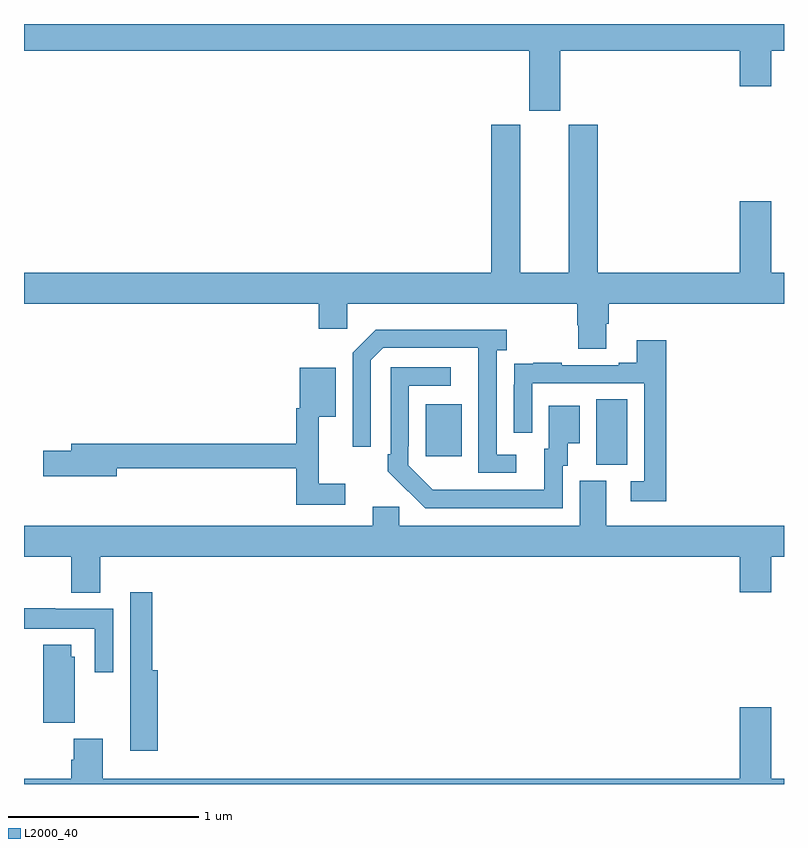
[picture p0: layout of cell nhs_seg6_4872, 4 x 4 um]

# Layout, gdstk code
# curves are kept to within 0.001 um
import gdstk
lib = gdstk.Library(unit=1e-6, precision=1e-09)
def R(c, l, rs):  # rectangles x0, y0, x1, y1
    for r in rs: c.add(gdstk.rectangle(r[:2], r[2:], *l))
def P(c, l, *ps):  # polygons
    for p in ps: c.add(gdstk.Polygon(p, *l))
L2000_40 = (2000, 40)

nhs_seg6_4872 = lib.new_cell('nhs_seg6_4872')
R(nhs_seg6_4872, L2000_40, [(404.012,921.181,404.176,921.524), (403.115,921.225,403.303,921.499)])
P(nhs_seg6_4872, L2000_40, [(401,923.36),(403.658,923.36),(403.658,923.043),(403.822,923.043),(403.822,923.36),(404.768,923.36),(404.768,923.172),(404.932,923.172),(404.932,923.36),(405,923.36),(405,923.5),(401,923.5)],
  [(404.065,921.922),(404.078,921.922),(404.078,922.028),(405,922.028),(405,922.192),(404.932,922.192),(404.932,922.567),(404.768,922.567),(404.768,922.192),(404.021,922.192),(404.021,922.971),(403.868,922.971),(403.868,922.192),(403.612,922.192),(403.612,922.971),(403.46,922.971),(403.46,922.192),(401,922.192),(401,922.028),(402.551,922.028),(402.551,921.897),(402.702,921.897),(402.702,922.028),(403.913,922.028),(403.913,921.915),(403.918,921.915),(403.918,921.79),(404.065,921.79)],
  [(403.591,921.234),(403.488,921.234),(403.488,921.782),(403.54,921.782),(403.54,921.892),(402.85,921.892),(402.729,921.771),(402.729,921.276),(402.825,921.276),(402.825,921.729),(402.891,921.795),(403.391,921.795),(403.392,921.138),(403.591,921.138)],
  [(404.381,921.835),(404.225,921.835),(404.225,921.718),(404.129,921.718),(404.129,921.705),(403.829,921.705),(403.829,921.718),(403.681,921.718),(403.681,921.711),(403.579,921.711),(403.579,921.602),(403.578,921.602),(403.578,921.348),(403.674,921.348),(403.674,921.609),(404.265,921.609),(404.265,921.093),(404.193,921.093),(404.193,920.988),(404.381,920.988)],
  [(403.836,921.174),(403.861,921.174),(403.861,921.293),(403.924,921.293),(403.924,921.49),(403.763,921.49),(403.763,921.264),(403.739,921.264),(403.739,921.048),(403.152,921.049),(403.023,921.177),(403.023,921.277),(403.026,921.277),(403.026,921.597),(403.246,921.597),(403.246,921.693),(402.93,921.693),(402.93,921.235),(402.915,921.235),(402.915,921.147),(403.112,920.952),(403.836,920.952)],
  [(402.691,921.079),(402.551,921.079),(402.551,921.434),(402.64,921.434),(402.64,921.691),(402.452,921.691),(402.452,921.477),(402.433,921.477),(402.433,921.29),(401.249,921.29),(401.249,921.254),(401.1,921.254),(401.1,921.119),(401.488,921.119),(401.488,921.162),(402.433,921.162),(402.433,920.97),(402.691,920.97)],
  [(401.401,920.696),(404.768,920.696),(404.768,920.508),(404.932,920.508),(404.932,920.696),(405,920.696),(405,920.86),(404.065,920.86),(404.065,921.096),(403.925,921.096),(403.925,920.86),(402.975,920.86),(402.975,920.958),(402.836,920.958),(402.836,920.86),(401,920.86),(401,920.696),(401.249,920.696),(401.249,920.507),(401.401,920.507)],
  [(401.705,920.098),(401.675,920.098),(401.675,920.509),(401.559,920.509),(401.559,919.994),(401.558,919.994),(401.558,919.674),(401.705,919.674)],
  [(401.469,920.422),(401.165,920.422),(401.165,920.425),(401,920.425),(401,920.318),(401.373,920.318),(401.373,920.088),(401.469,920.088)],
  [(401.266,920.169),(401.248,920.169),(401.248,920.233),(401.102,920.233),(401.102,919.822),(401.266,919.822)],
  [(405,919.528),(404.932,919.528),(404.932,919.903),(404.768,919.903),(404.768,919.528),(401.414,919.528),(401.414,919.737),(401.261,919.737),(401.261,919.628),(401.249,919.628),(401.249,919.528),(401,919.528),(401,919.5),(405,919.5)])

lib.write_gds('nhs_seg6_4872.gds')
